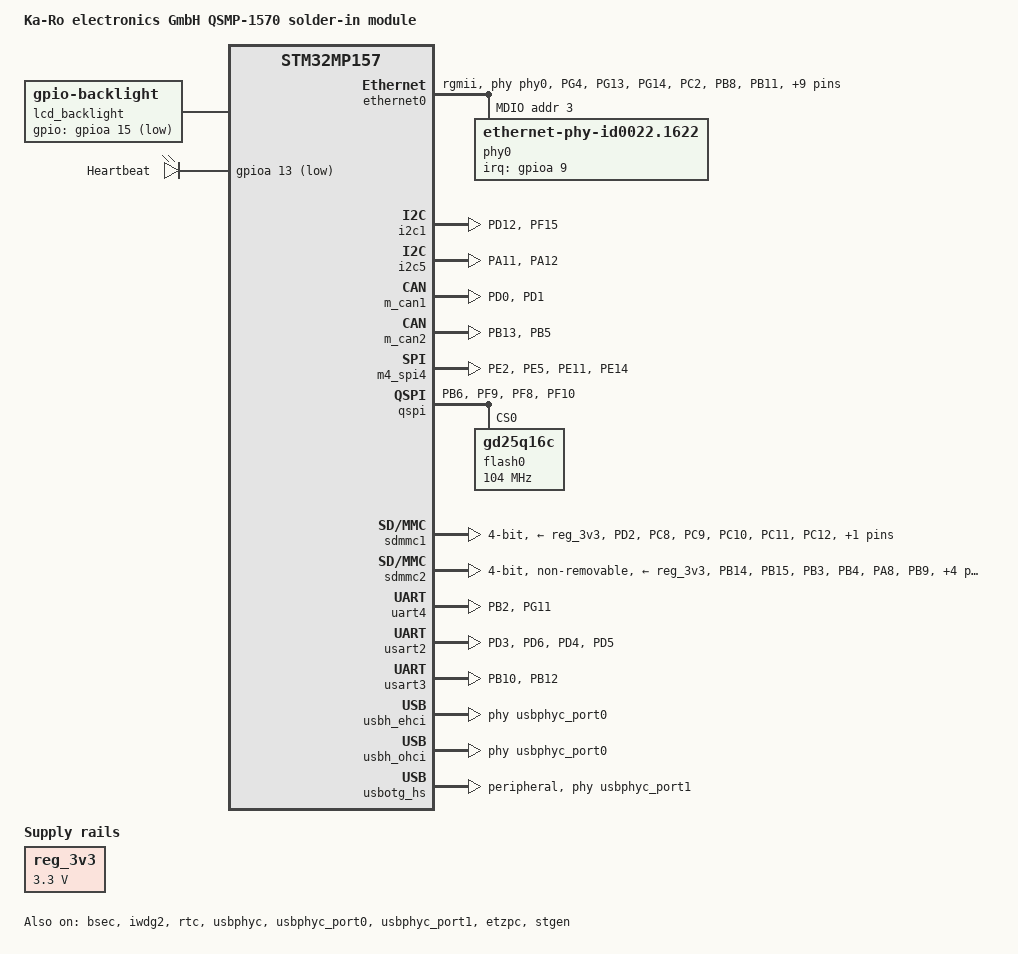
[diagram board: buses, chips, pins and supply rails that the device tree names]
// SPDX-License-Identifier: (GPL-2.0+ OR BSD-3-Clause)
/*
 * Copyright (C) STMicroelectronics 2019 - All Rights Reserved
 * Author: STM32CubeMX code generation for STMicroelectronics.
 */

/dts-v1/;

#include <dt-bindings/clock/stm32mp1-clks.h>
#include <dt-bindings/gpio/gpio.h>

#include "stm32mp157c.dtsi"
#include "stm32mp157c-m4-srm.dtsi"
#include "stm32mp157cac-pinctrl.dtsi"
#include "stm32mp15-ddr.dtsi"

/ {
	model = "Ka-Ro electronics GmbH QSMP-1570 solder-in module";
	compatible = "st,stm32mp157c-qsmp-1570", "st,stm32mp157";

	aliases {
		ethernet0 = &ethernet0;
		mmc0 = &sdmmc2;
		mmc1 = &sdmmc1;
		mmc2 = &sdmmc3;
		spinor0 = &flash0;
		serial0 = &uart4;
		serial1 = &usart2;
		serial2 = &usart3;
	};

	chosen {
		stdout-path = "serial0:115200n8";
	};

	lcd_backlight: lcd-backlight {
		compatible = "gpio-backlight";
		gpios = <&gpioa 15 GPIO_ACTIVE_LOW>;
		default-on;
	};

	leds {
		compatible = "gpio-leds";

		module_led {
			gpios = <&gpioa 13 GPIO_ACTIVE_LOW>;
			label = "Heartbeat";
			linux,default-trigger = "heartbeat";
		};
	};

	reg_3v3: regulator-3v3 {
		compatible = "regulator-fixed";
		regulator-name = "3v3";
		regulator-min-microvolt = <3300000>;
		regulator-max-microvolt = <3300000>;
		regulator-always-on;
	};

	soc {
		etzpc: etzpc@5c007000 {
			compatible = "st,stm32mp1-etzpc";
			reg = <0x5c007000 0x400>;
			clocks = <&rcc TZPC>;
			status = "okay";
			secure-status = "okay";
		};

		stgen: stgen@5c008000 {
			compatible = "st,stm32-stgen";
			reg = <0x5c008000 0x1000>;
			status = "okay";
		};
	};

	usb_phy_tuning: usb-phy-tuning {
		st,hs-dc-level = <2>;
		st,fs-rftime-tuning;
		st,hs-rftime-reduction;
		st,hs-current-trim = <15>;
		st,hs-impedance-trim = <1>;
		st,squelch-level = <3>;
		st,hs-rx-offset = <2>;
		st,no-lsfs-sc;
	};

	/delete-node/ pin-controller-z@54004000;
};

&adc {
	vdd-supply = <&reg_3v3>;
	vdda-supply = <&reg_3v3>;
	vref-supply = <&vrefbuf>;
	status = "disabled";
};

&adc2 {
	status = "disabled";
};

&adc_temp {
	status = "disabled";
};

&vrefbuf {
	regulator-min-microvolt = <2500000>;
	regulator-max-microvolt = <2500000>;
	vdda-supply = <&reg_3v3>;
	status = "disabled";
};

&bsec {
	status = "okay";
	secure-status = "okay";
};

&ethernet0 {
	pinctrl-names = "default", "sleep";
	pinctrl-0 = <&ethernet0_rgmii_pins>;
	pinctrl-1 = <&ethernet0_rgmii_pins_sleep>;
	phy-mode = "rgmii";
	phy-handle = <&phy0>;
	clock-names = "stmmaceth", "mac-clk-tx", "mac-clk-rx",
		      "ethstp", "syscfg-clk", "eth-ck";
	clocks = <&rcc ETHMAC &rcc ETHTX &rcc ETHRX
		  &rcc ETHSTP &rcc SYSCFG &rcc ETHCK_K>;
	status = "okay";

	mdio0 {
		#address-cells = <1>;
		#size-cells = <0>;
		compatible = "snps,dwmac-mdio";
		reset-gpios = <&gpioa 4 GPIO_ACTIVE_LOW>;
		reset-delay-us = <10000>;
		post-reset-delay-us = <1000>;

		phy0: ethernet-phy@3 {
			compatible = "ethernet-phy-id0022.1622";
			reg = <3>;
			interrupt-parent = <&gpioa>;
			interrupts = <9 IRQ_TYPE_EDGE_FALLING>;
			rxd0-skew-ps = <(420 + 6)>;
			rxd1-skew-ps = <(420 + 5)>;
			rxd2-skew-ps = <(420 - 1)>;
			rxd3-skew-ps = <(420 - 22)>;
			txd0-skew-ps = <(420 - 103)>;
			txd1-skew-ps = <(420 - 104)>;
			txd2-skew-ps = <(420 - 73)>;
			txd3-skew-ps = <(420 - 25)>;
			txen-skew-ps = <(420 + 15)>;
			rxdv-skew-ps = <(420 - 12)>;
			rxc-skew-ps = <(900 + 0)>;
			txc-skew-ps = <(900 + 1000)>;
		};
	};
};

&i2c1 {
	pinctrl-names = "default", "sleep";
	pinctrl-0 = <&i2c1_pins_mx>;
	pinctrl-1 = <&i2c1_sleep_pins_mx>;
};

&i2c5 {
	pinctrl-names = "default", "sleep";
	pinctrl-0 = <&i2c5_pins_mx>;
	pinctrl-1 = <&i2c5_sleep_pins_mx>;
	status = "okay";
};

&i2c6 {
	pinctrl-names = "default", "sleep";
	pinctrl-0 = <&i2c6_pins_mx>;
	pinctrl-1 = <&i2c6_sleep_pins_mx>;
	status = "disabled";
};

&iwdg2 {
	timeout-sec = <32>;
	status = "okay";
};

&m_can1 {
	pinctrl-names = "default", "sleep";
	pinctrl-0 = <&fdcan1_pins_mx>;
	pinctrl-1 = <&fdcan1_sleep_pins_mx>;
	status = "okay";
};

&m_can2 {
	pinctrl-names = "default", "sleep";
	pinctrl-0 = <&fdcan2_pins_mx>;
	pinctrl-1 = <&fdcan2_sleep_pins_mx>;
	status = "okay";
};

&m4_spi4 {
	pinctrl-names = "rproc_default";
	pinctrl-0 = <&spi4_pins_mx>;
	status = "okay";
};

&qspi {
	pinctrl-names = "default";
	pinctrl-0 = <&quadspi_pins_mx>;
	reg = <0x58003000 0x1000>, <0x70000000 0x1000000>;
	status = "okay";

	flash0: gd25q16c@0 {
		#address-cells = <1>;
		#size-cells = <1>;
		compatible = "gd25q16c", "spi-flash";
		reg = <0>;
		spi-rx-bus-width = <2>;
		spi-max-frequency = <104000000>;
		memory-map = <0x90000000 0x1000000>;
	};
};

&rtc {
	status = "okay";
	secure-status = "okay";
};

&sdmmc1 {
	arm,primecell-periphid = <0x10153180>;
	pinctrl-names = "default", "opendrain", "sleep";
	pinctrl-0 = <&sdmmc1_pins_mx>;
	pinctrl-1 = <&sdmmc1_pins_opendrain_mx>;
	pinctrl-2 = <&sdmmc1_pins_sleep_mx>;
	bus-width = <4>;
	vmmc-supply = <&reg_3v3>;
	cd-gpios = <&gpiob 7 GPIO_ACTIVE_LOW>;
	no-1-8-v;
	st,neg-edge;
	status = "okay";
};

&sdmmc2 {
	/* eMMC */
	arm,primecell-periphid = <0x10153180>;
	pinctrl-names = "default", "opendrain", "sleep";
	pinctrl-0 = <&sdmmc2_pins_mx>;
	pinctrl-1 = <&sdmmc2_pins_opendrain_mx>;
	pinctrl-2 = <&sdmmc2_pins_sleep_mx>;
	bus-width = <4>;
	vmmc-supply = <&reg_3v3>;
	no-1-8-v;
	no-sd;
	no-sdio;
	st,neg-edge;
	non-removable;
	status = "okay";
};

&uart4 {
	pinctrl-names = "default";
	pinctrl-0 = <&uart4_pins_mx>;
	status = "okay";
};

&usart2 {
	pinctrl-names = "default", "sleep";
	pinctrl-0 = <&usart2_pins_mx>;
	pinctrl-1 = <&usart2_sleep_pins_mx>;
	status = "okay";
};

&usart3 {
	pinctrl-names = "default", "sleep";
	pinctrl-0 = <&usart3_pins_mx>;
	pinctrl-1 = <&usart3_sleep_pins_mx>;
	status = "okay";
};

&usbh_ehci {
	phys = <&usbphyc_port0>;
	phy-names = "usb";
	status = "okay";
};

&usbh_ohci {
	phy-names = "usb";
	phys = <&usbphyc_port0>;
	status = "okay";
};

&usbotg_hs {
	phys = <&usbphyc_port1 0>;
	phy-names = "usb2-phy";
	dr_mode = "peripheral";
	status = "okay";
};

&usbphyc {
	vdd3v3-supply = <&reg_3v3>;
	status = "okay";
};

&usbphyc_port0 {
	st,phy-tuning = <&usb_phy_tuning>;
	status = "okay";
};

&usbphyc_port1 {
	st,phy-tuning = <&usb_phy_tuning>;
	status = "okay";
};

&pinctrl {
	ethernet0_rgmii_pins: ethernet0-rgmii-pins {
		pins1 {
			pinmux = <
				  STM32_PINMUX('G', 4, AF11) /* ETH_RGMII_GTX_CLK */
				  STM32_PINMUX('G', 13, AF11) /* ETH_RGMII_TXD0 */
				  STM32_PINMUX('G', 14, AF11) /* ETH_RGMII_TXD1 */
				  STM32_PINMUX('C', 2, AF11) /* ETH_RGMII_TXD2 */
				  STM32_PINMUX('B', 8, AF11) /* ETH_RGMII_TXD3 */
			>;
			bias-disable;
			drive-push-pull;
			slew-rate = <3>;
		};

		pins2 {
			pinmux = <
				  STM32_PINMUX('B', 11, AF11) /* ETH_RGMII_TX_CTL */
				  STM32_PINMUX('A', 2, AF11) /* ETH_MDIO */
				  STM32_PINMUX('C', 1, AF11) /* ETH_MDC */
			>;
			bias-disable;
			drive-push-pull;
			slew-rate = <1>;
		};

		pins3 {
			/* Micrel KSZ92031 strap pins */
			pinmux = <
				  STM32_PINMUX('A', 7, AF11) /* RX_CTL | CLK125_EN */
				  STM32_PINMUX('C', 4, AF11) /* RXD0 | MODE0 */
				  STM32_PINMUX('C', 5, AF11) /* RXD1 | MODE1 */
				  STM32_PINMUX('B', 0, AF11) /* RXD2 | MODE2 */
				  STM32_PINMUX('H', 7, AF11) /* RXD3 | MODE3 */
			>;
			bias-pull-up;
		};

		pins4 {
			pinmux = <
				  STM32_PINMUX('G', 5, AF11) /* CLK125 | LED_MODE */
				  STM32_PINMUX('A', 1, AF11) /* RX_CLK | PHYAD2 */
			>;
			bias-pull-down;
		};
	};

	ethernet0_rgmii_pins_sleep: rgmii-pins-sleep {
		pins1 {
			pinmux = <
				  STM32_PINMUX('G', 5, ANALOG) /* ETH_RGMII_CLK125 */
				  STM32_PINMUX('G', 4, ANALOG) /* ETH_RGMII_GTX_CLK */
				  STM32_PINMUX('G', 13, ANALOG) /* ETH_RGMII_TXD0 */
				  STM32_PINMUX('G', 14, ANALOG) /* ETH_RGMII_TXD1 */
				  STM32_PINMUX('C', 2, ANALOG) /* ETH_RGMII_TXD2 */
				  STM32_PINMUX('B', 8, ANALOG) /* ETH_RGMII_TXD3 */
				  STM32_PINMUX('B', 11, ANALOG) /* ETH_RGMII_TX_CTL */
				  STM32_PINMUX('A', 2, ANALOG) /* ETH_MDIO */
				  STM32_PINMUX('C', 1, ANALOG) /* ETH_MDC */
				  STM32_PINMUX('C', 4, ANALOG) /* ETH_RGMII_RXD0 */
				  STM32_PINMUX('C', 5, ANALOG) /* ETH_RGMII_RXD1 */
				  STM32_PINMUX('B', 0, ANALOG) /* ETH_RGMII_RXD2 */
				  STM32_PINMUX('H', 7, ANALOG) /* ETH_RGMII_RXD3 */
				  STM32_PINMUX('A', 1, ANALOG) /* ETH_RGMII_RX_CLK */
				  STM32_PINMUX('A', 7, ANALOG) /* ETH_RGMII_RX_CTL */
			>;
		};
	};

	fdcan1_pins_mx: fdcan1-mx {
		pins1 {
			pinmux = <STM32_PINMUX('D', 0, AF9)>; /* FDCAN1_RX */
			bias-disable;
		};
		pins2 {
			pinmux = <STM32_PINMUX('D', 1, AF9)>; /* FDCAN1_TX */
			bias-disable;
			drive-push-pull;
			slew-rate = <0>;
		};
	};

	fdcan1_sleep_pins_mx: fdcan1-sleep-mx {
		pins {
			pinmux = <
				  STM32_PINMUX('D', 0, ANALOG) /* FDCAN1_RX */
				  STM32_PINMUX('D', 1, ANALOG) /* FDCAN1_TX */
			>;
		};
	};

	fdcan2_pins_mx: fdcan2-mx {
		pins1 {
			pinmux = <STM32_PINMUX('B', 13, AF9)>; /* FDCAN2_TX */
			bias-disable;
			drive-push-pull;
			slew-rate = <0>;
		};
		pins2 {
			pinmux = <STM32_PINMUX('B', 5, AF9)>; /* FDCAN2_RX */
			bias-disable;
		};
	};

	fdcan2_sleep_pins_mx: fdcan2-sleep-mx {
		pins {
			pinmux = <
				  STM32_PINMUX('B', 5, ANALOG) /* FDCAN2_RX */
				  STM32_PINMUX('B', 13, ANALOG) /* FDCAN2_TX */
			>;
		};
	};

	i2c1_pins_mx: i2c1-mx {
		pins {
			pinmux = <
				  STM32_PINMUX('D', 12, AF5) /* I2C1_SCL */
				  STM32_PINMUX('F', 15, AF5) /* I2C1_SDA */
			>;
			bias-disable;
			drive-open-drain;
			slew-rate = <0>;
		};
	};

	i2c1_sleep_pins_mx: i2c1-sleep-mx {
		pins {
			pinmux = <
				  STM32_PINMUX('D', 12, ANALOG) /* I2C1_SCL */
				  STM32_PINMUX('F', 15, ANALOG) /* I2C1_SDA */
			>;
		};
	};

	i2c5_pins_mx: i2c5-mx {
		pins {
			pinmux = <
				  STM32_PINMUX('A', 11, AF4) /* I2C5_SCL */
				  STM32_PINMUX('A', 12, AF4) /* I2C5_SDA */
			>;
			bias-disable;
			drive-open-drain;
			slew-rate = <0>;
		};
	};

	i2c5_sleep_pins_mx: i2c5-sleep-mx {
		pins {
			pinmux = <
				  STM32_PINMUX('A', 11, ANALOG) /* I2C5_SCL */
				  STM32_PINMUX('A', 12, ANALOG) /* I2C5_SDA */
			>;
		};
	};

	i2c6_pins_mx: i2c6-mx {
		pins {
			pinmux = <
				  STM32_PINMUX('Z', 0, AF2) /* I2C6_SCL */
				  STM32_PINMUX('Z', 1, AF2) /* I2C6_SDA */
			>;
			bias-disable;
			drive-open-drain;
			slew-rate = <0>;
		};
	};

	i2c6_sleep_pins_mx: i2c6-sleep-mx {
		pins {
			pinmux = <
				  STM32_PINMUX('Z', 0, ANALOG) /* I2C6_SCL */
				  STM32_PINMUX('Z', 1, ANALOG) /* I2C6_SDA */
			>;
		};
	};

	quadspi_pins_mx: quadspi-pins-mx {
		pins1 {
			pinmux = <
				  STM32_PINMUX('B', 6, AF10)	/* QUADSPI_BK1_NCS */
				  STM32_PINMUX('F', 9, AF10)	/* QUADSPI_BK1_IO1 */
				  STM32_PINMUX('F', 8, AF10)	/* QUADSPI_BK1_IO0 */
			>;
			bias-disable;
			drive-push-pull;
			slew-rate = <1>;
		};

		pins2 {
			pinmux = <STM32_PINMUX('F', 10, AF9)>; /* QUADSPI_CLK */
			bias-disable;
			drive-push-pull;
			slew-rate = <2>;
		};
	};

	sdmmc1_pins_mx: sdmmc1-pins-mx {
		pins1 {
			pinmux = <
				  STM32_PINMUX('D', 2, AF12)	/* SDMMC1_CMD */
				  STM32_PINMUX('C', 8, AF12)	/* SDMMC1_D0 */
				  STM32_PINMUX('C', 9, AF12)	/* SDMMC1_D1 */
				  STM32_PINMUX('C', 10, AF12)	/* SDMMC1_D2 */
				  STM32_PINMUX('C', 11, AF12)	/* SDMMC1_D3 */
			>;
			bias-disable;
			drive-push-pull;
			slew-rate = <1>;
		};

		pins2 {
			pinmux = <STM32_PINMUX('C', 12, AF12)>; /* SDMMC1_CK */
			bias-disable;
			drive-push-pull;
			slew-rate = <2>;
		};
	};

	sdmmc1_pins_opendrain_mx: sdmmc1-pins-opendrain-mx {
		pins1 {
			pinmux = <
				  STM32_PINMUX('D', 2, AF12)	/* SDMMC1_CMD */
				  STM32_PINMUX('C', 8, AF12)	/* SDMMC1_D0 */
				  STM32_PINMUX('C', 9, AF12)	/* SDMMC1_D1 */
				  STM32_PINMUX('C', 10, AF12)	/* SDMMC1_D2 */
				  STM32_PINMUX('C', 11, AF12)	/* SDMMC1_D3 */
			>;
			bias-disable;
			drive-push-pull;
			slew-rate = <1>;
		};

		pins2 {
			pinmux = <STM32_PINMUX('D', 2, AF12)>; /* SDMMC1_CMD */
			bias-disable;
			drive-open-drain;
			slew-rate = <1>;
		};

		pins3 {
			pinmux = <STM32_PINMUX('C', 12, AF12)>; /* SDMMC1_CK */
			bias-disable;
			drive-push-pull;
			slew-rate = <2>;
		};
	};

	sdmmc1_pins_sleep_mx: sdmmc1-pins-sleep-mx {
		pins1 {
			pinmux = <
				  STM32_PINMUX('D', 2, ANALOG)	/* SDMMC1_CMD */
				  STM32_PINMUX('C', 8, ANALOG)	/* SDMMC1_D0 */
				  STM32_PINMUX('C', 9, ANALOG)	/* SDMMC1_D1 */
				  STM32_PINMUX('C', 10, ANALOG)	/* SDMMC1_D2 */
				  STM32_PINMUX('C', 11, ANALOG)	/* SDMMC1_D3 */
				  STM32_PINMUX('C', 12, ANALOG)	/* SDMMC1_CK */
			>;
		};
	};

	sdmmc2_pins_mx: sdmmc2-pins-mx {
		pins1 {
			pinmux = <
				  STM32_PINMUX('B', 14, AF9)	/* SDMMC2_D0 */
				  STM32_PINMUX('B', 15, AF9)	/* SDMMC2_D1 */
				  STM32_PINMUX('B', 3, AF9)	/* SDMMC2_D2 */
				  STM32_PINMUX('B', 4, AF9)	/* SDMMC2_D3 */
				  STM32_PINMUX('A', 8, AF9)	/* SDMMC2_D4 */
				  STM32_PINMUX('B', 9, AF9)	/* SDMMC2_D5 */
				  STM32_PINMUX('C', 6, AF9)	/* SDMMC2_D6 */
				  STM32_PINMUX('C', 7, AF9)	/* SDMMC2_D7 */
				  STM32_PINMUX('G', 6, AF10)	/* SDMMC2_CMD */
			>;
			bias-disable;
			drive-push-pull;
			slew-rate = <1>;
		};

		pins2 {
			pinmux = <STM32_PINMUX('E', 3, AF9)>; /* SDMMC2_CK */
			bias-disable;
			drive-push-pull;
			slew-rate = <3>;
		};
	};

	sdmmc2_pins_opendrain_mx: sdmmc2-pins-opendrain-mx {
		pins1 {
			pinmux = <
				  STM32_PINMUX('B', 14, AF9)	/* SDMMC2_D0 */
				  STM32_PINMUX('B', 15, AF9)	/* SDMMC2_D1 */
				  STM32_PINMUX('B', 3, AF9)	/* SDMMC2_D2 */
				  STM32_PINMUX('B', 4, AF9)	/* SDMMC2_D3 */
				  STM32_PINMUX('A', 8, AF9)	/* SDMMC2_D4 */
				  STM32_PINMUX('B', 9, AF9)	/* SDMMC2_D5 */
				  STM32_PINMUX('C', 6, AF9)	/* SDMMC2_D6 */
				  STM32_PINMUX('C', 7, AF9)	/* SDMMC2_D7 */
			>;
			bias-disable;
			drive-push-pull;
			slew-rate = <1>;
		};

		pins2 {
			pinmux = <STM32_PINMUX('G', 6, AF10)>;	/* SDMMC2_CMD */
			bias-disable;
			drive-open-drain;
			slew-rate = <1>;
		};

		pins3 {
			pinmux = <STM32_PINMUX('E', 3, AF9)>; /* SDMMC2_CK */
			bias-disable;
			drive-push-pull;
			slew-rate = <3>;
		};
	};

	sdmmc2_pins_sleep_mx: sdmmc2-pins-sleep-mx {
		pins {
			pinmux = <
				  STM32_PINMUX('B', 14, ANALOG)	/* SDMMC2_D0 */
				  STM32_PINMUX('B', 15, ANALOG)	/* SDMMC2_D1 */
				  STM32_PINMUX('B', 3, ANALOG)	/* SDMMC2_D2 */
				  STM32_PINMUX('B', 4, ANALOG)	/* SDMMC2_D3 */
				  STM32_PINMUX('A', 8, ANALOG)	/* SDMMC2_D4 */
				  STM32_PINMUX('B', 9, ANALOG)	/* SDMMC2_D5 */
				  STM32_PINMUX('C', 6, ANALOG)	/* SDMMC2_D6 */
				  STM32_PINMUX('C', 7, ANALOG)	/* SDMMC2_D7 */
				  STM32_PINMUX('G', 6, ANALOG)	/* SDMMC2_CMD */
				  STM32_PINMUX('E', 3, ANALOG)	/* SDMMC2_CK */
			>;
		};
	};

	spi4_pins_mx: spi4-mx {
		pins {
			pinmux = <
				  STM32_PINMUX('E', 2, AF5) /* SPI4_SCK */
				  STM32_PINMUX('E', 5, AF5) /* SPI4_MISO */
				  STM32_PINMUX('E', 11, AF5) /* SPI4_NSS */
				  STM32_PINMUX('E', 14, AF5) /* SPI4_MOSI */
			>;
			bias-disable;
			drive-push-pull;
			slew-rate = <1>;
		};
	};

	spi4_sleep_pins_mx: spi4-sleep-mx {
		pins {
			pinmux = <
				  STM32_PINMUX('E', 2, ANALOG) /* SPI4_SCK */
				  STM32_PINMUX('E', 5, ANALOG) /* SPI4_MISO */
				  STM32_PINMUX('E', 11, ANALOG) /* SPI4_NSS */
				  STM32_PINMUX('E', 14, ANALOG) /* SPI4_MOSI */
			>;
		};
	};

	uart4_pins_mx: uart4-pins-mx {
		pins1 {
			pinmux = <STM32_PINMUX('B', 2, AF8)>; /* UART4_RX */
			bias-disable;
		};

		pins2 {
			pinmux = <STM32_PINMUX('G', 11, AF6)>; /* UART4_TX */
			bias-disable;
			drive-push-pull;
			slew-rate = <0>;
		};
	};

	usart2_pins_mx: usart2-mx {
		pins1 {
			pinmux = <
				  STM32_PINMUX('D', 3, AF7) /* USART2_CTS */
				  STM32_PINMUX('D', 6, AF7) /* USART2_RX */
			>;
			bias-disable;
		};

		pins2 {
			pinmux = <
				  STM32_PINMUX('D', 4, AF7) /* USART2_RTS */
				  STM32_PINMUX('D', 5, AF7) /* USART2_TX */
			>;
			bias-disable;
			drive-push-pull;
			slew-rate = <0>;
		};
	};

	usart2_sleep_pins_mx: usart2-sleep-mx {
		pins {
			pinmux = <
				  STM32_PINMUX('D', 3, ANALOG) /* USART2_CTS */
				  STM32_PINMUX('D', 4, ANALOG) /* USART2_RTS */
				  STM32_PINMUX('D', 5, ANALOG) /* USART2_TX */
				  STM32_PINMUX('D', 6, ANALOG) /* USART2_RX */
			>;
		};
	};

	usart3_pins_mx: usart3-mx {
		pins1 {
			pinmux = <STM32_PINMUX('B', 10, AF7)>; /* USART3_TX */
			bias-disable;
			drive-push-pull;
			slew-rate = <0>;
		};

		pins2 {
			pinmux = <STM32_PINMUX('B', 12, AF8)>; /* USART3_RX */
			bias-disable;
		};
	};

	usart3_sleep_pins_mx: usart3-sleep-mx {
		pins {
			pinmux = <STM32_PINMUX('B', 10, ANALOG) /* USART3_TX */
				  STM32_PINMUX('B', 12, ANALOG) /* USART3_RX */
			>;
		};
	};
};
